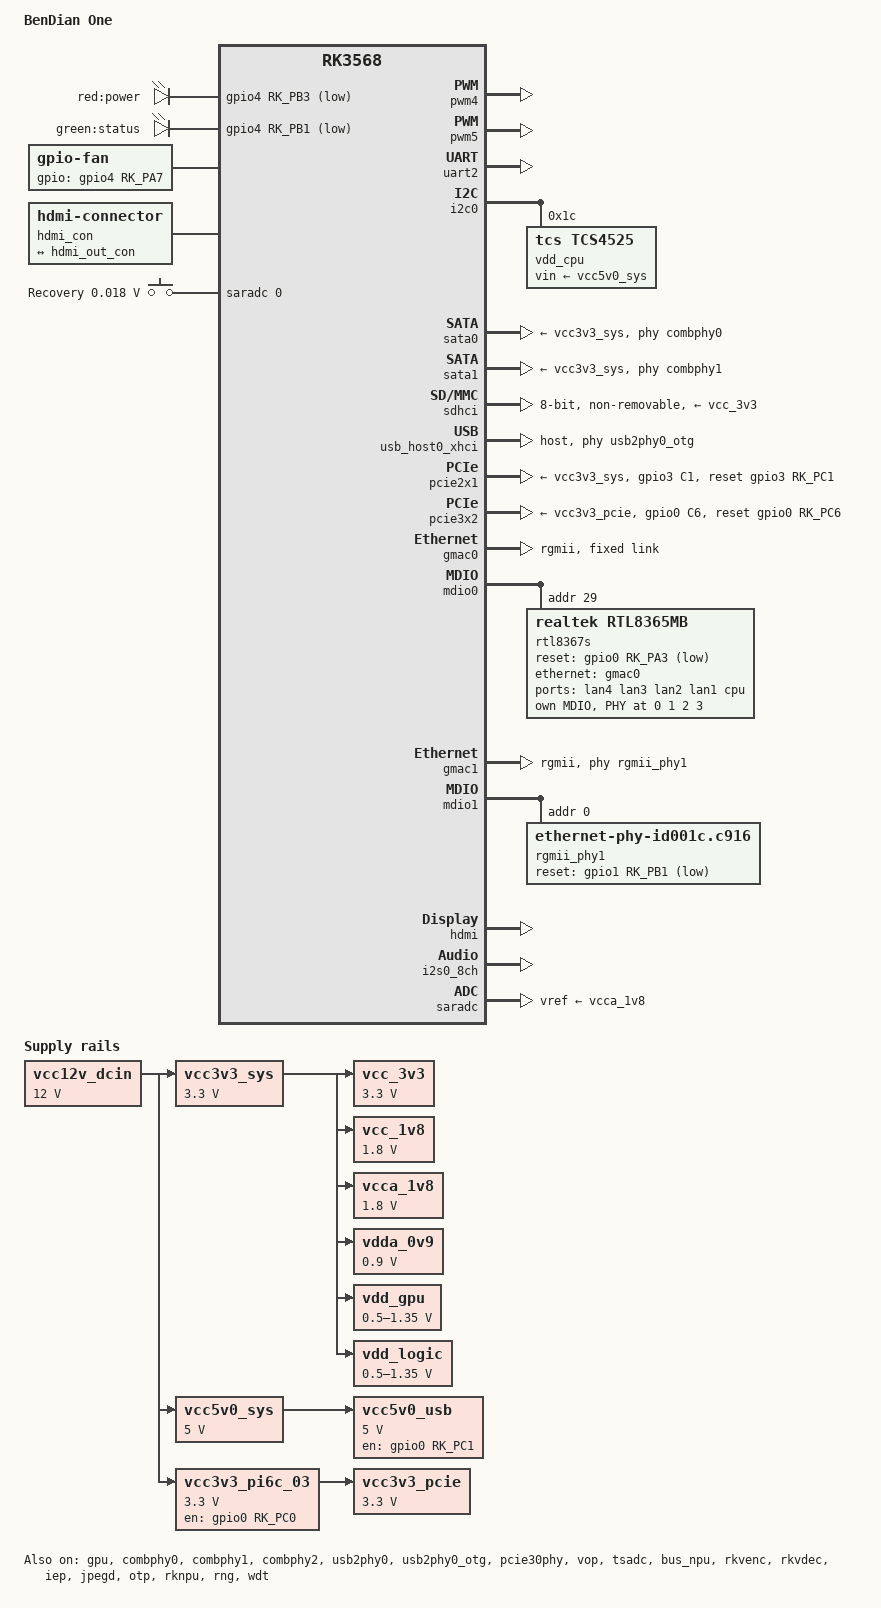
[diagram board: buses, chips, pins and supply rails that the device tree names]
// SPDX-License-Identifier: (GPL-2.0+ OR MIT)
/*
 * Device Tree for BenDian One (RK3568) - 2026.9.30  fnOS最新V1.2.0701 版本6.18内核 / iStoreOS 24.10.8版本6.6.144内核
 * 完整适配 Rockchip MPP 硬件编解码加速与 RKNPU 驱动栈 在fnOS最新V1.2.0701 版本  内核6.18.18.c1145-trim  上 GPU解码 相册NPU解码 4K解码都支持
 */

/dts-v1/;

#include <dt-bindings/gpio/gpio.h>
#include <dt-bindings/pwm/pwm.h>
#include <dt-bindings/input/input.h>
#include <dt-bindings/leds/common.h>
#include <dt-bindings/pinctrl/rockchip.h>
#include <dt-bindings/soc/rockchip,vop2.h>
#include <dt-bindings/thermal/thermal.h>
#include <dt-bindings/phy/phy.h>
#include <dt-bindings/clock/rk3568-cru.h>
#include <rockchip/rk3568.dtsi>
#include "rk3568-vngpu.dtsi"
#include "rk3568-ramoops.dtsi"

/ {
    model = "BenDian One";
    compatible = "bendian,bd-one", "rockchip,rk3568";

    aliases {
        ethernet0 = &gmac1;
        ethernet1 = &gmac0;
        mmc0 = &sdhci;
        serial2 = &uart2;
    };

    chosen {
        stdout-path = "serial2:1500000n8";
    };

/* 默认 512MB CMA：供视频编解码、显示等 DMA 设备按需共享 */
    reserved-memory {
        #address-cells = <2>;
        #size-cells = <2>;
        ranges;

        linux,cma {
            compatible = "shared-dma-pool";
            reusable;
            size = <0x0 0x20000000>; /* 512MB 动态复用池 */
            linux,cma-default;
        };
    };

    /* 状态指示灯 */
    gpio-leds {
        compatible = "gpio-leds";
        pinctrl-names = "default";
        pinctrl-0 = <&power_led_pin &status_led_pin>;

        led_power: led-0 {
            label = "red:power";
            gpios = <&gpio4 RK_PB3 GPIO_ACTIVE_LOW>;
            default-state = "on";
        };

        led-1 {
            label = "green:status";
            gpios = <&gpio4 RK_PB1 GPIO_ACTIVE_LOW>;
            linux,default-trigger = "heartbeat";
        };
    };

    /* 温控风扇 */
    fan: gpio-fan {
        compatible = "gpio-fan";
        pinctrl-names = "default";
        pinctrl-0 = <&fan_pins>;
        gpios = <&gpio4 RK_PA7 GPIO_ACTIVE_HIGH>;
        gpio-fan,speed-map = <0 0>, <7500 1>;
        #cooling-cells = <2>;
        cooling-min-level = <0>;
        cooling-max-level = <1>;
        status = "okay";
    };

    hdmi_con: hdmi-con {
        compatible = "hdmi-connector";
        type = "a";
        status = "okay";

        port {
            hdmi_con_in: endpoint {
                remote-endpoint = <&hdmi_out_con>;
            };
        };
    };

    hdmi-sound {
        compatible = "simple-audio-card";
        simple-audio-card,name = "HDMI";
        simple-audio-card,format = "i2s";
        simple-audio-card,mclk-fs = <256>;
        status = "okay";

        simple-audio-card,codec {
            sound-dai = <&hdmi>;
        };

        simple-audio-card,cpu {
            sound-dai = <&i2s0_8ch>;
        };
    };

    adc-keys {
        compatible = "adc-keys";
        io-channels = <&saradc 0>;
        io-channel-names = "buttons";
        keyup-threshold-microvolt = <1800000>;
        poll-interval = <100>;

        button-recovery {
            label = "Recovery";
            linux,code = <KEY_VENDOR>;
            press-threshold-microvolt = <17500>;
        };
    };

    /* 电源架构总线 */
    vcc12v_dcin: vcc12v-dcin {
        compatible = "regulator-fixed";
        regulator-name = "vcc12v_dcin";
        regulator-always-on;
        regulator-boot-on;
        regulator-min-microvolt = <12000000>;
        regulator-max-microvolt = <12000000>;
    };

    vcc3v3_sys: vcc3v3-sys {
        compatible = "regulator-fixed";
        regulator-name = "vcc3v3_sys";
        regulator-always-on;
        regulator-boot-on;
        regulator-min-microvolt = <3300000>;
        regulator-max-microvolt = <3300000>;
        vin-supply = <&vcc12v_dcin>;
    };

    vcc5v0_sys: vcc5v0-sys {
        compatible = "regulator-fixed";
        regulator-name = "vcc5v0_sys";
        regulator-always-on;
        regulator-boot-on;
        regulator-min-microvolt = <5000000>;
        regulator-max-microvolt = <5000000>;
        vin-supply = <&vcc12v_dcin>;
    };

    vcc5v0_usb: vcc5v0-usb {
        compatible = "regulator-fixed";
        regulator-name = "vcc5v0_usb";
        enable-active-high;
        gpio = <&gpio0 RK_PC1 GPIO_ACTIVE_HIGH>;
        pinctrl-names = "default";
        pinctrl-0 = <&usb_pwr_en>;
        regulator-boot-on;
        regulator-always-on;
        regulator-min-microvolt = <5000000>;
        regulator-max-microvolt = <5000000>;
        vin-supply = <&vcc5v0_sys>;
        startup-delay-us = <1000000>;

        regulator-state-mem {
            regulator-off-in-suspend;
        };
    };

    vcc_3v3: vcc-3v3 {
        compatible = "regulator-fixed";
        regulator-name = "vcc_3v3";
        regulator-always-on;
        regulator-boot-on;
        regulator-min-microvolt = <3300000>;
        regulator-max-microvolt = <3300000>;
        vin-supply = <&vcc3v3_sys>;
    };

    vcc_1v8: vcc-1v8 {
        compatible = "regulator-fixed";
        regulator-name = "vcc_1v8";
        regulator-always-on;
        regulator-boot-on;
        regulator-min-microvolt = <1800000>;
        regulator-max-microvolt = <1800000>;
        vin-supply = <&vcc3v3_sys>;
    };

    vcca_1v8: vcca-1v8 {
        compatible = "regulator-fixed";
        regulator-name = "vcca_1v8";
        regulator-always-on;
        regulator-boot-on;
        regulator-min-microvolt = <1800000>;
        regulator-max-microvolt = <1800000>;
        vin-supply = <&vcc3v3_sys>;
    };

    vdda_0v9: vdda-0v9 {
        compatible = "regulator-fixed";
        regulator-name = "vdda_0v9";
        regulator-always-on;
        regulator-boot-on;
        regulator-min-microvolt = <900000>;
        regulator-max-microvolt = <900000>;
        vin-supply = <&vcc3v3_sys>;
    };

    vcc3v3_pi6c_03: vcc3v3-pi6c-03 {
        compatible = "regulator-fixed";
        regulator-name = "vcc3v3_pi6c_03";
        enable-active-high;
        gpio = <&gpio0 RK_PC0 GPIO_ACTIVE_HIGH>;
        pinctrl-names = "default";
        pinctrl-0 = <&ssd_pwr_en>;
        regulator-always-on;
        regulator-boot-on;
        regulator-min-microvolt = <3300000>;
        regulator-max-microvolt = <3300000>;
        vin-supply = <&vcc12v_dcin>;
        startup-delay-us = <500000>;
    };

    vcc3v3_pcie: vcc3v3-pcie {
        compatible = "regulator-fixed";
        regulator-name = "vcc3v3_pcie";
        regulator-always-on;
        regulator-boot-on;
        regulator-min-microvolt = <3300000>;
        regulator-max-microvolt = <3300000>;
        vin-supply = <&vcc3v3_pi6c_03>;
    };

    vdd_gpu: vdd-gpu {
        compatible = "pwm-regulator";
        pwms = <&pwm4 0 5000 1>;
        pwm-supply = <&vcc3v3_sys>;
        regulator-name = "vdd_gpu";
        regulator-always-on;
        regulator-boot-on;
        regulator-init-microvolt = <900000>;
        regulator-min-microvolt = <500000>;
        regulator-max-microvolt = <1350000>;
        regulator-ramp-delay = <6001>;
        regulator-settling-time-up-us = <250>;
        pwm-dutycycle-range = <0 100>;
    };

    vdd_logic: vdd-logic {
        compatible = "pwm-regulator";
        pwms = <&pwm5 0 5000 1>;
        pwm-supply = <&vcc3v3_sys>;
        regulator-name = "vdd_logic";
        regulator-always-on;
        regulator-boot-on;
        regulator-init-microvolt = <900000>;
        regulator-min-microvolt = <500000>;
        regulator-max-microvolt = <1350000>;
        regulator-ramp-delay = <6001>;
        regulator-settling-time-up-us = <250>;
        pwm-dutycycle-range = <0 100>;
    };
};

&pwm4 { status = "okay"; };
&pwm5 { status = "okay"; };

&uart3 { status = "disabled"; };
&uart5 { status = "disabled"; };
&i2c5 {
    /delete-property/ pinctrl-names;
    /delete-property/ pinctrl-0;
    status = "disabled";
};
&uart2 { status = "okay"; };

/* CPU 电源管理：FAN53555 / TCS4525 */
&i2c0 {
    status = "okay";

    vdd_cpu: regulator@1c {
        compatible = "tcs,tcs4525", "silergy,syr827", "fcs,fan53555";
        reg = <0x1c>;
        fcs,suspend-voltage-selector = <1>;
        regulator-name = "vdd_cpu";
        regulator-always-on;
        regulator-boot-on;
        regulator-init-microvolt = <900000>;
        regulator-min-microvolt = <712500>;
        regulator-max-microvolt = <1390000>;
        regulator-ramp-delay = <2300>;
        vin-supply = <&vcc5v0_sys>;

        regulator-state-mem {
            regulator-off-in-suspend;
        };
    };
};

&cpu0 { cpu-supply = <&vdd_cpu>; };
&cpu1 { cpu-supply = <&vdd_cpu>; };
&cpu2 { cpu-supply = <&vdd_cpu>; };
&cpu3 { cpu-supply = <&vdd_cpu>; };

/* Mali GPU：绑定供电与调频 */
&gpu {
    mali-supply = <&vdd_gpu>;
    operating-points-v2 = <&gpu_opp_table>;
    power-off-delay-ms = <20>;
    status = "okay";
};

&combphy0 { status = "okay"; };
&combphy1 { status = "okay"; };
&combphy2 { status = "okay"; };

&sata0 {
    status = "okay";
    ahci-supply = <&vcc3v3_sys>;
    phy-supply = <&vcc3v3_sys>;
    target-supply = <&vcc3v3_sys>;
    phys = <&combphy0 PHY_TYPE_SATA>;
    phy-names = "sata-phy";
};

&sata1 {
    status = "okay";
    ahci-supply = <&vcc3v3_sys>;
    phy-supply = <&vcc3v3_sys>;
    target-supply = <&vcc3v3_sys>;
    phys = <&combphy1 PHY_TYPE_SATA>;
    phy-names = "sata-phy";
};

&sdhci {
    bus-width = <8>;
    max-frequency = <200000000>;
    non-removable;
    mmc-hs200-1_8v;
    vmmc-supply = <&vcc_3v3>;
    vqmmc-supply = <&vcc_1v8>;
    pinctrl-names = "default";
    pinctrl-0 = <&emmc_bus8 &emmc_clk &emmc_cmd>;
    status = "okay";
};

/* 单 USB 2.0 拓扑 */
&usb2phy0 { 
    status = "okay"; 
};

&usb2phy0_otg {
    phy-supply = <&vcc5v0_usb>;
    status = "okay";
};

&usb2phy0_host {
    status = "disabled";
};

&usb_host0_xhci {
    dr_mode = "host";
    phys = <&usb2phy0_otg>;
    phy-names = "usb2-phy";
    extcon = <&usb2phy0>;
    maximum-speed = "high-speed";
    snps,dis_u2_susphy_quirk;
    status = "okay";
};

&usb_host0_ehci { status = "disabled"; };
&usb_host0_ohci { status = "disabled"; };
&usb2phy1 { status = "disabled"; };

/* PCIe 2.0 x1 */
&pcie2x1 {
    reset-gpios = <&gpio3 RK_PC1 GPIO_ACTIVE_HIGH>;
    vpcie3v3-supply = <&vcc3v3_sys>;
    pinctrl-names = "default";
    pinctrl-0 = <&pcie20_reset_pin>;
    status = "okay";
};

&pcie30phy {
    status = "okay";
};

&pcie3x2 {
    reset-gpios = <&gpio0 RK_PC6 GPIO_ACTIVE_HIGH>;
    vpcie3v3-supply = <&vcc3v3_pcie>;
    pinctrl-names = "default";
    pinctrl-0 = <&pcie30_reset_pin>;
    rockchip,perst-inactive-ms = <500>;
    status = "okay";
};

/* =================== 网络架构：RTL8367S DSA + RTL8211F (原机对齐版) =================== */

/* 1. GMAC0：连接 RTL8367S 交换机 CPU Port 7 (完全对齐原机时序与延时) */
&gmac0 {
    assigned-clocks = <&cru SCLK_GMAC0_RX_TX>, <&cru SCLK_GMAC0>;
    assigned-clock-parents = <&cru SCLK_GMAC0_RGMII_SPEED>, <&cru CLK_MAC0_2TOP>;
    assigned-clock-rates = <0>, <125000000>;
    clock_in_out = "output";
    phy-mode = "rgmii";
    /delete-property/ phy-handle;
    pinctrl-names = "default";
    pinctrl-0 = <&gmac0_miim &gmac0_tx_bus2 &gmac0_rx_bus2
                 &gmac0_rgmii_clk &gmac0_rgmii_bus>;
    tx_delay = <0x4f>;
    rx_delay = <0x0f>;
    status = "okay";

    fixed-link {
        speed = <1000>;
        full-duplex;
    };
};

/* 2. MDIO0：管理 RTL8367S 交换芯片及其 4 个千兆内部 PHY (DSA 结构) */
&mdio0 {
    compatible = "snps,dwmac-mdio";
    #address-cells = <1>;
    #size-cells = <0>;

    rtl8367s: switch@1d {
        compatible = "realtek,rtl8365mb";
        reg = <0x1d>;
        reset-gpios = <&gpio0 RK_PA3 GPIO_ACTIVE_LOW>;
        reset-assert-us = <50000>;
        reset-deassert-us = <200000>;
        pinctrl-names = "default";
        pinctrl-0 = <&rtl8367_reset_pin &rtl8367_int_pin>;

        /* 原机硬件中断控制器：解决网口轮询导致的响应卡顿与吞吐抖动 */
        rtl8367_intc: interrupt-controller {
            interrupt-parent = <&gpio0>;
            interrupts = <RK_PA4 IRQ_TYPE_LEVEL_LOW>;
            interrupt-controller;
            #address-cells = <0>;
            #interrupt-cells = <1>;
        };

        mdio {
            compatible = "realtek,smi-mdio";
            #address-cells = <1>;
            #size-cells = <0>;

            phy0: ethernet-phy@0 {
                reg = <0>;
                interrupt-parent = <&rtl8367_intc>;
                interrupts = <0>;
            };

            phy1: ethernet-phy@1 {
                reg = <1>;
                interrupt-parent = <&rtl8367_intc>;
                interrupts = <1>;
            };

            phy2: ethernet-phy@2 {
                reg = <2>;
                interrupt-parent = <&rtl8367_intc>;
                interrupts = <2>;
            };

            phy3: ethernet-phy@3 {
                reg = <3>;
                interrupt-parent = <&rtl8367_intc>;
                interrupts = <3>;
            };
        };

        ports {
            #address-cells = <1>;
            #size-cells = <0>;

            port@0 {
                reg = <0>;
                label = "lan4";
                phy-mode = "internal";
                phy-handle = <&phy0>;
            };

            port@1 {
                reg = <1>;
                label = "lan3";
                phy-mode = "internal";
                phy-handle = <&phy1>;
            };

            port@2 {
                reg = <2>;
                label = "lan2";
                phy-mode = "internal";
                phy-handle = <&phy2>;
            };

            port@3 {
                reg = <3>;
                label = "lan1";
                phy-mode = "internal";
                phy-handle = <&phy3>;
            };

            port@7 {
                reg = <7>;
                label = "cpu";
                ethernet = <&gmac0>;
                phy-mode = "rgmii";

                fixed-link {
                    speed = <1000>;
                    full-duplex;
                };
            };
        };
    };
};

/* 3. GMAC1：原机独立第五网口 (RTL8211F) */
&gmac1 {
    assigned-clocks = <&cru SCLK_GMAC1_RX_TX>, <&cru SCLK_GMAC1>;
    assigned-clock-parents = <&cru SCLK_GMAC1_RGMII_SPEED>, <&cru CLK_MAC1_2TOP>;
    assigned-clock-rates = <0>, <125000000>;
    clock_in_out = "output";
    phy-mode = "rgmii";
    phy-handle = <&rgmii_phy1>;

    pinctrl-names = "default";
    pinctrl-0 = <&gmac1m0_miim &gmac1m0_tx_bus2 &gmac1m0_rx_bus2
                 &gmac1m0_rgmii_clk &gmac1m0_rgmii_bus>;

    tx_delay = <0x4f>;
    rx_delay = <0x10>;
    status = "okay";
};

&mdio1 {
    rgmii_phy1: ethernet-phy@0 {
        compatible = "ethernet-phy-id001c.c916", "ethernet-phy-ieee802.3-c22";
        reg = <0>;
        reset-gpios = <&gpio1 RK_PB1 GPIO_ACTIVE_LOW>;
        reset-assert-us = <20000>;
        reset-deassert-us = <100000>;
        realtek,led-data = <0x17b>;
    };
};

/* CPU 温控 */
&cpu_thermal {
    polling-delay = <1000>;
    polling-delay-passive = <250>;

    /delete-node/ trips;
    /delete-node/ cooling-maps;

    trips {
        cpu_fan_on: cpu-fan-on {
            temperature = <75000>;
            hysteresis = <10000>;
            type = "active";
        };

        cpu_alert0: cpu-alert0 {
            temperature = <75000>;
            hysteresis = <5000>;
            type = "passive";
        };

        cpu_alert1: cpu-alert1 {
            temperature = <85000>;
            hysteresis = <2000>;
            type = "passive";
        };

        cpu_crit: cpu-crit {
            temperature = <95000>;
            hysteresis = <2000>;
            type = "critical";
        };
    };

    cooling-maps {
        map_fan {
            trip = <&cpu_fan_on>;
            cooling-device = <&fan 1 1>;
        };

        map_cpu_mild {
            trip = <&cpu_alert0>;
            cooling-device = <&cpu0 THERMAL_NO_LIMIT 2>;
        };

        map_cpu_heavy {
            trip = <&cpu_alert1>;
            cooling-device = <&cpu0 2 THERMAL_NO_LIMIT>;
        };
    };
};

/* GPU 温控 */
&gpu_thermal {
    polling-delay = <1000>;
    polling-delay-passive = <250>;

    /delete-node/ trips;
    /delete-node/ cooling-maps;

    trips {
        gpu_fan_on: gpu-fan-on {
            temperature = <75000>;
            hysteresis = <10000>;
            type = "active";
        };

        gpu_alert: gpu-alert {
            temperature = <75000>;
            hysteresis = <2000>;
            type = "passive";
        };

        gpu_crit: gpu-crit {
            temperature = <95000>;
            hysteresis = <2000>;
            type = "critical";
        };
    };

    cooling-maps {
        map_fan {
            trip = <&gpu_fan_on>;
            cooling-device = <&fan 1 1>;
        };

        map_gpu {
            trip = <&gpu_alert>;
            cooling-device = <&gpu THERMAL_NO_LIMIT THERMAL_NO_LIMIT>;
        };
    };
};

/* =================== 显示与多媒体系统 =================== */

/* 1. HDMI 控制器 */
&hdmi {
    status = "okay";
    #sound-dai-cells = <0>;

    avdd-0v9-supply = <&vdda_0v9>;
    avdd-1v8-supply = <&vcca_1v8>;

    pinctrl-names = "default";
    pinctrl-0 = <&hdmitx_scl>,
                <&hdmitx_sda>,
                <&hdmitxm0_cec>;
};

/* 2. HDMI 输出端口连接到物理接插件插座 */
&hdmi_out {
    hdmi_out_con: endpoint {
        remote-endpoint = <&hdmi_con_in>;
    };
};

/* 3. HDMI 输入端口连接到 VOP2 的 VP0 */
&hdmi_in {
    hdmi_in_vp0: endpoint {
        remote-endpoint = <&vp0_out_hdmi>;
    };
};

/* 4. VOP2 的 VP0 端点：明确标识为 HDMI0 输出端口通道 */
&vp0 {
    vp0_out_hdmi: endpoint@ROCKCHIP_VOP2_EP_HDMI0 {
        reg = <ROCKCHIP_VOP2_EP_HDMI0>;
        remote-endpoint = <&hdmi_in_vp0>;
    };
};

/* 5. VOP2 显示核心：精准绑定 HPLL / VPLL 专有时钟源 */
&vop {
    assigned-clocks = <&cru DCLK_VOP0>, <&cru DCLK_VOP1>;
    assigned-clock-parents = <&pmucru PLL_HPLL>, <&cru PLL_VPLL>;
    status = "okay";
};

&vop_mmu {
    status = "okay";
};

&i2s0_8ch {
    status = "okay";
};

&saradc {
    vref-supply = <&vcca_1v8>;
    status = "okay";
};

&tsadc {
    rockchip,hw-tshut-mode = <1>;
    rockchip,hw-tshut-polarity = <0>;
    status = "okay";
};

&pmu_io_domains {
    pmuio1-supply = <&vcc_3v3>;
    pmuio2-supply = <&vcc_3v3>;
    vccio1-supply = <&vcc_3v3>;
    vccio2-supply = <&vcc_1v8>;
    vccio3-supply = <&vcc_3v3>;
    vccio4-supply = <&vcc_1v8>;
    vccio5-supply = <&vcc_3v3>;
    vccio6-supply = <&vcc_1v8>;
    vccio7-supply = <&vcc_3v3>;
    status = "okay";
};

&pinctrl {
    fan {
        fan_pins: fan-pins {
            rockchip,pins = <4 RK_PA7 RK_FUNC_GPIO &pcfg_pull_none>;
        };
    };

    gpio-leds {
        power_led_pin: power-led-pin {
            rockchip,pins = <4 RK_PB3 RK_FUNC_GPIO &pcfg_pull_none>;
        };

        status_led_pin: status-led-pin {
            rockchip,pins = <4 RK_PB1 RK_FUNC_GPIO &pcfg_pull_none>;
        };
    };

    pcie {
        ssd_pwr_en: ssd-pwr-en {
            rockchip,pins = <0 RK_PC0 RK_FUNC_GPIO &pcfg_pull_none>;
        };

        pcie30_reset_pin: pcie30-reset-pin {
            rockchip,pins = <0 RK_PC6 RK_FUNC_GPIO &pcfg_pull_none>;
        };

        pcie20_reset_pin: pcie20-reset-pin {
            rockchip,pins = <3 RK_PC1 RK_FUNC_GPIO &pcfg_pull_none>;
        };
    };

    usb {
        usb_pwr_en: usb-pwr-en {
            rockchip,pins = <0 RK_PC1 RK_FUNC_GPIO &pcfg_pull_down>;
        };
    };

    gmac-reset {
        rtl8367_reset_pin: rtl8367-reset-pin {
            rockchip,pins = <0 RK_PA3 RK_FUNC_GPIO &pcfg_pull_up>;
        };

        /* 补充：中断引脚默认上拉，防止开机悬空毛刺 */
        rtl8367_int_pin: rtl8367-int-pin {
            rockchip,pins = <0 RK_PA4 RK_FUNC_GPIO &pcfg_pull_up>;
        };
    };
}; 

/*彻底禁用无用的 SDIO Wi-Fi 节点（清理系统报错）*/

&sdmmc2 {
    status = "disabled";
};

/* =================== 硬件加速与外设使能 =================== */

/* NPU 神经网络加速器 */
&bus_npu {
    bus-supply = <&vdd_logic>;
    status = "okay";
};

/* 硬件视频编码 */
&rkvenc {
    venc-supply = <&vdd_logic>;
    operating-points-v2 = <&rkvenc_opp_table>;
    status = "okay";
};

/* 硬件视频解码 */
&rkvdec {
    vdec-supply = <&vdd_logic>;
    operating-points-v2 = <&rkvdec_opp_table>;
    status = "okay";

    /* 优化项：补全 7 路微内核与 CABAC 复位信号，防止 4K 拖动死锁 */
    resets = <&cru SRST_A_RKVDEC>, <&cru SRST_H_RKVDEC>,
             <&cru SRST_RKVDEC_CA>, <&cru SRST_RKVDEC_CORE>,
             <&cru SRST_RKVDEC_HEVC_CA>,
             <&cru SRST_A_VPU_NIU>, <&cru SRST_H_VPU_NIU>;

    reset-names = "video_a", "video_h", "video_cabac",
                  "video_core", "video_hevc_cabac",
                  "shared_niu_a", "shared_niu_h";
};

/* 建议紧跟在 &rkvdec 后显式使能 MMU */
&rkvdec_mmu {
    status = "okay";
};

/* 图像后期处理引擎（针对字幕渲染、视频缩放增强） */
&iep {
    status = "okay";
};

&iep_mmu {
    status = "okay";
};

/* JPEG 硬件硬解（提升飞牛相册海量图片瞬间缩略图生成速度） */
&jpegd {
    status = "okay";
};

&jpegd_mmu {
    status = "okay";
};
/* 3. eFuse/OTP：重映射 4 时钟 + 复位，激活 AVS 自适应调压 */
/* eFuse/OTP 控制器：双系统（fnOS BSP 驱动 + iStoreOS 主线 6.6 驱动）双向全兼容配置 */
&otp {
    clocks = <&cru CLK_OTPC_NS_USR>,
             <&cru CLK_OTPC_NS_USR>,
             <&cru CLK_OTPC_NS_SBPI>,
             <&cru PCLK_OTPC_NS>,
             <&cru PCLK_OTPC_NS>,
             <&cru PCLK_OTPPHY>;

    clock-names = "usr", "otp", "sbpi", "apb", "apb_pclk", "phy";

    resets = <&cru SRST_OTPPHY>;
    reset-names = "otp_phy";

    status = "okay";
};

/* 针对 fnOS 当前 vendor RKNPU 驱动的资源重叠规避；非通用硬件定义 */
&rknpu {
    reg = <0x0 0xfde40000 0x0 0x3000>;
    rknpu-supply = <&vdd_logic>;
    status = "okay";
};

&rknpu_mmu {
    status = "okay";
};

/* 开启硬件真随机数：加速 SSH 连接、TLS/HTTPS 证书握手与加密传输速度 */
&rng {
    status = "okay";
};

/* 开启硬件看门狗：当底层内核严重死锁或供电异常假死时，自动硬件复位重启，避免变砖断联 */
&wdt {
    status = "okay";
};
